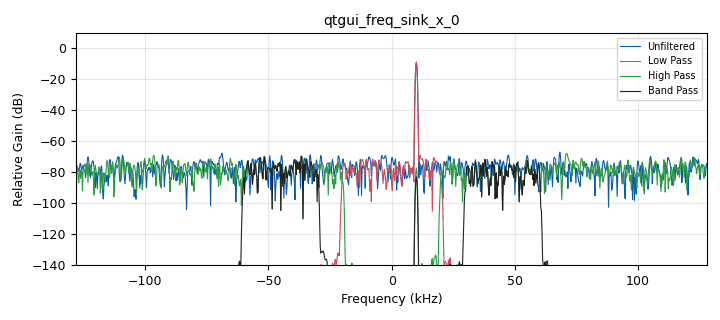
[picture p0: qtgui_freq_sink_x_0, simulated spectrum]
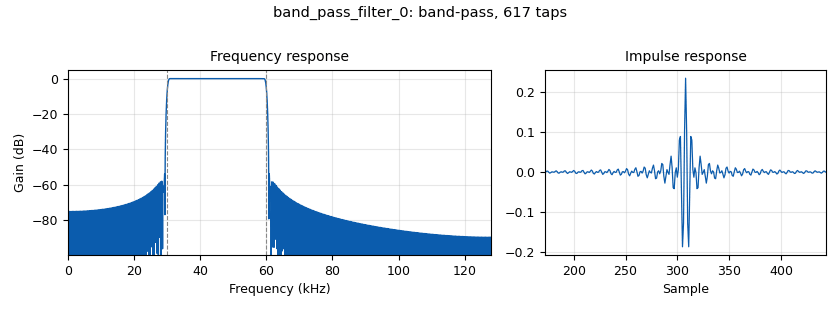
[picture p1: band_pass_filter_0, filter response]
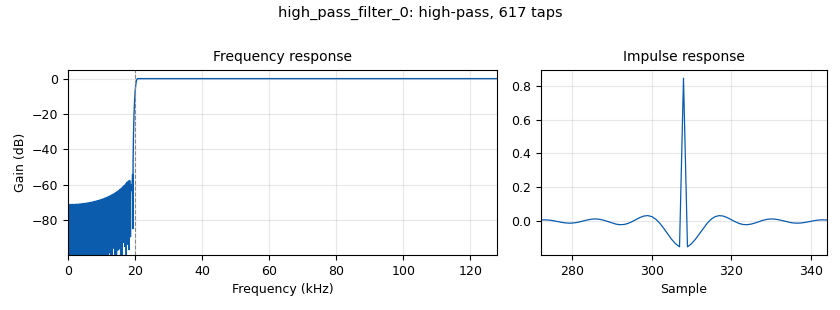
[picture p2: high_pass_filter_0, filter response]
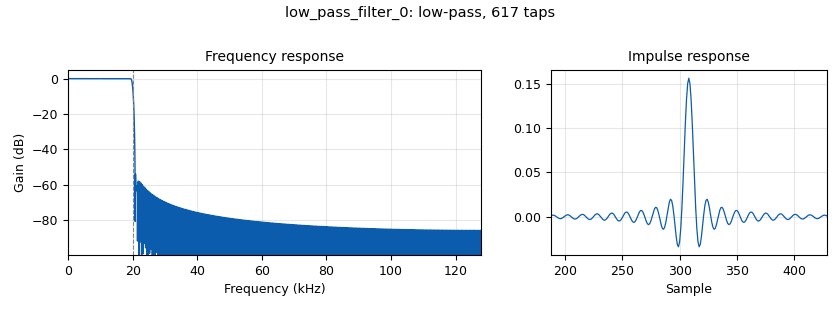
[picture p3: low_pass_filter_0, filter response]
<?xml version='1.0' encoding='utf-8'?>
<?grc format='1' created='3.7.10'?>
<flow_graph>
<block>
<key>options</key>
<param><key>id</key><value>filtering</value></param>
<param><key>author</key><value>Alexandros-Apostolos A. Boulogeorgos</value></param>
<param><key>generate_options</key><value>qt_gui</value></param>
<param><key>title</key><value>Filtering</value></param>
</block>
<block>
<key>variable_qtgui_range</key>
<param><key>id</key><value>freq</value></param>
<param><key>value</key><value>10e3</value></param>
<param><key>label</key><value>Frequency</value></param>
<param><key>orient</key><value>Qt.Horizontal</value></param>
<param><key>start</key><value>-100e3</value></param>
<param><key>step</key><value>100</value></param>
<param><key>stop</key><value>100e3</value></param>
</block>
<block>
<key>variable</key>
<param><key>id</key><value>samp_rate</value></param>
<param><key>value</key><value>256e3</value></param>
</block>
<block>
<key>analog_fastnoise_source_x</key>
<param><key>id</key><value>analog_fastnoise_source_x_0</value></param>
<param><key>amp</key><value>0.01</value></param>
<param><key>noise_type</key><value>analog.GR_GAUSSIAN</value></param>
<param><key>type</key><value>complex</value></param>
<param><key>seed</key><value>0</value></param>
<param><key>samples</key><value>8192</value></param>
</block>
<block>
<key>analog_sig_source_x</key>
<param><key>id</key><value>analog_sig_source_x_0</value></param>
<param><key>amp</key><value>1</value></param>
<param><key>freq</key><value>freq</value></param>
<param><key>offset</key><value>0</value></param>
<param><key>type</key><value>complex</value></param>
<param><key>samp_rate</key><value>samp_rate</value></param>
<param><key>waveform</key><value>analog.GR_COS_WAVE</value></param>
</block>
<block>
<key>band_pass_filter</key>
<param><key>id</key><value>band_pass_filter_0</value></param>
<param><key>decim</key><value>1</value></param>
<param><key>type</key><value>fir_filter_ccf</value></param>
<param><key>gain</key><value>1</value></param>
<param><key>high_cutoff_freq</key><value>60e3</value></param>
<param><key>low_cutoff_freq</key><value>30e3</value></param>
<param><key>samp_rate</key><value>samp_rate</value></param>
<param><key>width</key><value>1e3</value></param>
<param><key>win</key><value>firdes.WIN_HAMMING</value></param>
</block>
<block>
<key>blocks_add_xx</key>
<param><key>id</key><value>blocks_add_xx_0</value></param>
<param><key>type</key><value>complex</value></param>
</block>
<block>
<key>blocks_throttle</key>
<param><key>id</key><value>blocks_throttle_0</value></param>
<param><key>samples_per_second</key><value>samp_rate</value></param>
<param><key>type</key><value>complex</value></param>
</block>
<block>
<key>high_pass_filter</key>
<param><key>id</key><value>high_pass_filter_0</value></param>
<param><key>cutoff_freq</key><value>20e3</value></param>
<param><key>decim</key><value>1</value></param>
<param><key>type</key><value>fir_filter_ccf</value></param>
<param><key>gain</key><value>1</value></param>
<param><key>samp_rate</key><value>samp_rate</value></param>
<param><key>width</key><value>1e3</value></param>
<param><key>win</key><value>firdes.WIN_HAMMING</value></param>
</block>
<block>
<key>low_pass_filter</key>
<param><key>id</key><value>low_pass_filter_0</value></param>
<param><key>cutoff_freq</key><value>20e3</value></param>
<param><key>decim</key><value>1</value></param>
<param><key>type</key><value>fir_filter_ccf</value></param>
<param><key>gain</key><value>1</value></param>
<param><key>samp_rate</key><value>samp_rate</value></param>
<param><key>width</key><value>1e3</value></param>
<param><key>win</key><value>firdes.WIN_HAMMING</value></param>
</block>
<block>
<key>qtgui_freq_sink_x</key>
<param><key>id</key><value>qtgui_freq_sink_x_0</value></param>
<param><key>bw</key><value>samp_rate</value></param>
<param><key>fc</key><value>0</value></param>
<param><key>ctrlpanel</key><value>True</value></param>
<param><key>fftsize</key><value>1024</value></param>
<param><key>grid</key><value>True</value></param>
<param><key>label1</key><value>Unfiltered</value></param>
<param><key>width1</key><value>2</value></param>
<param><key>label2</key><value>Low Pass</value></param>
<param><key>width2</key><value>2</value></param>
<param><key>label3</key><value>High Pass</value></param>
<param><key>width3</key><value>2</value></param>
<param><key>label4</key><value>Band Pass</value></param>
<param><key>width4</key><value>2</value></param>
<param><key>nconnections</key><value>4</value></param>
<param><key>showports</key><value>True</value></param>
<param><key>type</key><value>complex</value></param>
<param><key>wintype</key><value>firdes.WIN_BLACKMAN_hARRIS</value></param>
</block>
<connection><source_block_id>analog_fastnoise_source_x_0</source_block_id><sink_block_id>blocks_add_xx_0</sink_block_id><source_key>0</source_key><sink_key>1</sink_key></connection>
<connection><source_block_id>analog_sig_source_x_0</source_block_id><sink_block_id>blocks_add_xx_0</sink_block_id><source_key>0</source_key><sink_key>0</sink_key></connection>
<connection><source_block_id>band_pass_filter_0</source_block_id><sink_block_id>qtgui_freq_sink_x_0</sink_block_id><source_key>0</source_key><sink_key>3</sink_key></connection>
<connection><source_block_id>blocks_add_xx_0</source_block_id><sink_block_id>band_pass_filter_0</sink_block_id><source_key>0</source_key><sink_key>0</sink_key></connection>
<connection><source_block_id>blocks_add_xx_0</source_block_id><sink_block_id>blocks_throttle_0</sink_block_id><source_key>0</source_key><sink_key>0</sink_key></connection>
<connection><source_block_id>blocks_add_xx_0</source_block_id><sink_block_id>high_pass_filter_0</sink_block_id><source_key>0</source_key><sink_key>0</sink_key></connection>
<connection><source_block_id>blocks_add_xx_0</source_block_id><sink_block_id>low_pass_filter_0</sink_block_id><source_key>0</source_key><sink_key>0</sink_key></connection>
<connection><source_block_id>blocks_throttle_0</source_block_id><sink_block_id>qtgui_freq_sink_x_0</sink_block_id><source_key>0</source_key><sink_key>0</sink_key></connection>
<connection><source_block_id>high_pass_filter_0</source_block_id><sink_block_id>qtgui_freq_sink_x_0</sink_block_id><source_key>0</source_key><sink_key>2</sink_key></connection>
<connection><source_block_id>low_pass_filter_0</source_block_id><sink_block_id>qtgui_freq_sink_x_0</sink_block_id><source_key>0</source_key><sink_key>1</sink_key></connection>
</flow_graph>
